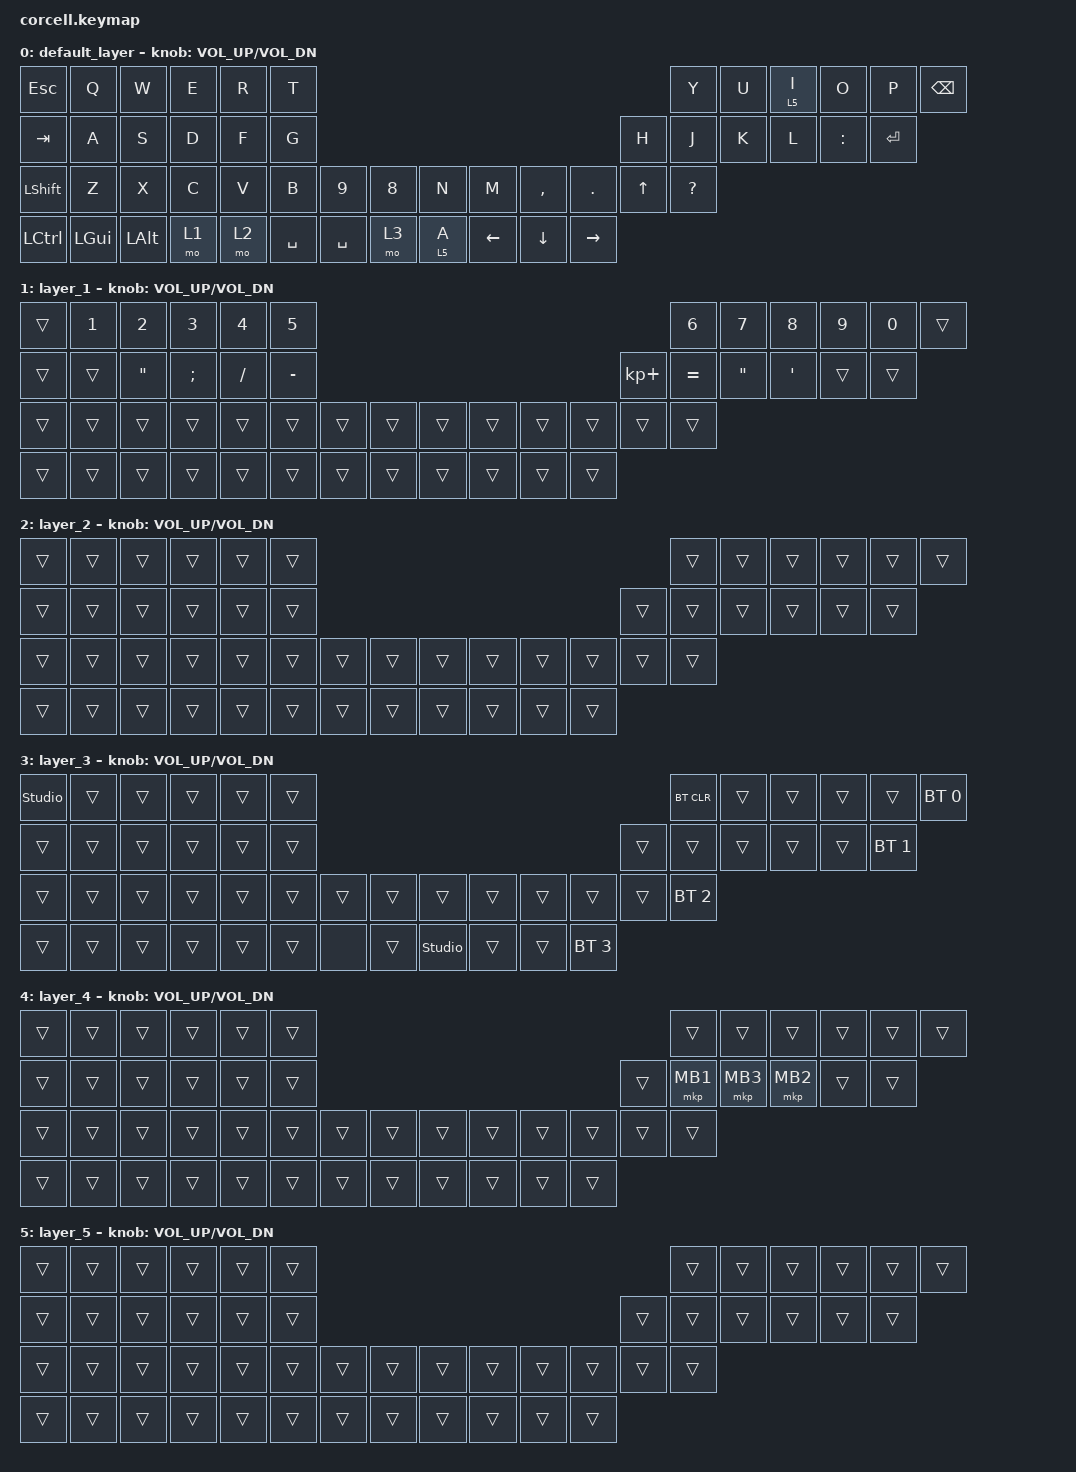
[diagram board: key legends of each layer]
#include <dt-bindings/zmk/mouse.h>
#include <behaviors.dtsi>
#include <dt-bindings/zmk/bt.h>
#include <dt-bindings/zmk/outputs.h>
#include <dt-bindings/zmk/keys.h>
#include <dt-bindings/zmk/pointing.h>
#include <behaviors/runtime-input-processor.dtsi>

/ {
    keymap {
        compatible = "zmk,keymap";

        default_layer {
            bindings = <
&kp ESC  &kp Q  &kp W  &kp E  &kp R  &kp T  &kp Y  &kp U  &lt 5 I  &kp O  &kp P  &kp BSPC
&kp TAB  &kp A  &kp S  &kp D  &kp F  &kp G  &kp H  &kp J  &kp K  &kp L  &kp COLON  &kp RET
&kp LSHFT  &kp Z  &kp X  &kp C  &kp V  &kp B  &kp N9  &kp N8  &kp N  &kp M  &kp COMMA  &kp DOT  &kp UP  &kp QMARK
&kp LCTRL  &kp LGUI  &kp LALT  &mo 1  &mo 2  &kp SPACE  &kp SPACE  &mo 3  &lt 5 A  &kp LEFT  &kp DOWN  &kp RIGHT
            >;
            sensor-bindings = <&inc_dec_kp C_VOL_UP C_VOL_DN>;
        };

        layer_1 {
            bindings = <
&trans  &kp NUMBER_1  &kp NUMBER_2  &kp NUMBER_3  &kp NUMBER_4  &kp NUMBER_5  &kp NUMBER_6  &kp NUMBER_7  &kp N8  &kp NUMBER_9  &kp NUMBER_0  &trans
&trans  &trans  &kp DOUBLE_QUOTES  &kp SEMICOLON  &kp SLASH  &kp MINUS  &kp KP_PLUS  &kp EQUAL  &kp DOUBLE_QUOTES  &kp SQT  &trans  &trans
&trans  &trans  &trans  &trans  &trans  &trans  &trans  &trans  &trans  &trans  &trans  &trans  &trans  &trans
&trans  &trans  &trans  &trans  &trans  &trans  &trans  &trans  &trans  &trans  &trans  &trans
            >;
            sensor-bindings = <&inc_dec_kp C_VOL_UP C_VOL_DN>;
        };

        layer_2 {
            bindings = <
&trans  &trans  &trans  &trans  &trans  &trans  &trans  &trans  &trans  &trans  &trans  &trans
&trans  &trans  &trans  &trans  &trans  &trans  &trans  &trans  &trans  &trans  &trans  &trans
&trans  &trans  &trans  &trans  &trans  &trans  &trans  &trans  &trans  &trans  &trans  &trans  &trans  &trans
&trans  &trans  &trans  &trans  &trans  &trans  &trans  &trans  &trans  &trans  &trans  &trans
            >;
            sensor-bindings = <&inc_dec_kp C_VOL_UP C_VOL_DN>;
        };

        layer_3 {
            bindings = <
&studio_unlock  &trans  &trans  &trans  &trans  &trans  &bt BT_CLR  &trans  &trans  &trans  &trans  &bt BT_SEL 0
&trans  &trans  &trans  &trans  &trans  &trans  &trans  &trans  &trans  &trans  &trans  &bt BT_SEL 1
&trans  &trans  &trans  &trans  &trans  &trans  &trans  &trans  &trans  &trans  &trans  &trans  &trans  &bt BT_SEL 2
&trans  &trans  &trans  &trans  &trans  &trans  &none  &trans  &studio_unlock  &trans  &trans  &bt BT_SEL 3
            >;
            sensor-bindings = <&inc_dec_kp C_VOL_UP C_VOL_DN>;
        };

        layer_4 {
            bindings = <
&trans  &trans  &trans  &trans  &trans  &trans  &trans  &trans  &trans  &trans  &trans  &trans
&trans  &trans  &trans  &trans  &trans  &trans  &trans  &mkp MB1  &mkp MB3  &mkp MB2  &trans  &trans
&trans  &trans  &trans  &trans  &trans  &trans  &trans  &trans  &trans  &trans  &trans  &trans  &trans  &trans
&trans  &trans  &trans  &trans  &trans  &trans  &trans  &trans  &trans  &trans  &trans  &trans
            >;
            sensor-bindings = <&inc_dec_kp C_VOL_UP C_VOL_DN>;
        };

        layer_5 {
            bindings = <
&trans  &trans  &trans  &trans  &trans  &trans  &trans  &trans  &trans  &trans  &trans  &trans
&trans  &trans  &trans  &trans  &trans  &trans  &trans  &trans  &trans  &trans  &trans  &trans
&trans  &trans  &trans  &trans  &trans  &trans  &trans  &trans  &trans  &trans  &trans  &trans  &trans  &trans
&trans  &trans  &trans  &trans  &trans  &trans  &trans  &trans  &trans  &trans  &trans  &trans
            >;
            sensor-bindings = <&inc_dec_kp C_VOL_UP C_VOL_DN>;
        };
    };
};
